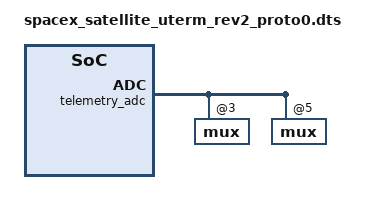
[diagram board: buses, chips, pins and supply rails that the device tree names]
/*
 * Copyright (C) 2018 STMicroelectronics (R&D) Limited.
 * Author: Nicolas Toromanoff <nicolas.toromanoff@st.com>
 *
 * This program is free software; you can redistribute it and/or modify
 * it under the terms of the GNU General Public License version 2 as
 * published by the Free Software Foundation.
 */

/dts-v1/;
#include "spacex_satellite_uterm_cut2.dtsi"
#include "spacex_satellite_uterm_production.dtsi"
#include "spacex_satellite_uterm_imu_spi2.dtsi"

/ {
	gpios {
		/*
		 * GPS.
		 */
		gps_boot  = <&pio10 4 1>; /* 0=UART, 1=SPI  */
		gps_reset = <&pio21 4 1>; /* 0=reset, 1=run */

		/*
		 * Reset.
		 */
		self_reset = <&pio23 0 1>;   /* 0=reset*/

		/*
		 * Shiraz (digital beamformers).
		 */
		dbf_reset     = <&pio11 7 0>;
		dbf_v0p9_ok   = <&pio31 1>;

		/*
		 * Pulsar (Front-End Modules).
		 */
		fem_v1p8_ok   = <&pio31 0>;

		/*
		 * Cady (clockgen).
		 */
		cady_power   = <&pio20 1 0>;
		cady_v1p8_up = <&pio22 0 0>;

		/*
		 * Heaters. All Active HI.
		 */
		en_ctr_heater1  = <&pio10 5 0>;
		en_ctr_heater2  = <&pio23 1 0>;
		en_left_heater  = <&pio21 5 0>;
		en_right_heater = <&pio23 2 0>;

		/*
		 * STSAFE reset, active low.
		 */
		stsafe_reset = <&pio32 4 0>;

		/*
		 * Actuator Control.
		 */
		motor2_nsleep = <&pio20 7 0>; /* 0=sleep_mode */
		motor2_ph     = <&pio20 6 0>; /* 0=reverse, 1=fwd */
		motor2_nfault = <&pio20 3>;   /* 0=at_fault */

		motor1_nsleep = <&pio20 0 0>; /* 0=sleep_mode */
		motor1_ph     = <&pio20 5 0>; /* 0=reverse, 1=fwd */
		motor1_nfault = <&pio22 2>;   /* 0=at_fault */
	};

	pwms {
		/*
		 * Adaptive voltage scaling.
		 */
		avs_core      = <&pwm0 0>;
		avs_cpu       = <&pwm0 1>;
	};

	soc {
		/*
		 * ADC temp sensors, voltage, and current monitors.
		 *
		 * V2 has 2 muxes on channels 3 and 5.
		 */
		telemetry_adc: sti_adc@8900000 {
			use-external = <0 0 0 0 0 0 1 1>;

			mux-gpio = <&pio12 4 0>,
				   <&pio12 6 0>,
				   <&pio12 7 0>;

			mux@3 {
				input-channel = <3>;
				vchan-count = <8>;
			};
			mux@5 {
				input-channel = <5>;
				vchan-count = <8>;
			};
		};
	};
};
